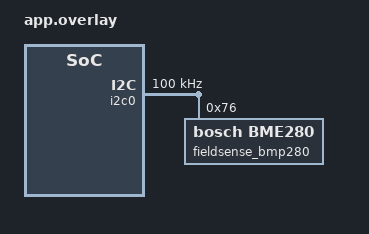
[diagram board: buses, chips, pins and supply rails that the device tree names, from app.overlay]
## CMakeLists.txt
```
cmake_minimum_required(VERSION 3.20.0)

find_package(Zephyr REQUIRED HINTS $ENV{ZEPHYR_BASE})

project(fieldsense_z)

target_include_directories(app PRIVATE include)

target_sources(app PRIVATE
    src/main.c
    src/sensor_service.c
    src/env_stats.c
    src/timing_metrics.c
    src/state_model.c
    src/diagnostics.c
    src/fault_injection.c
)
```

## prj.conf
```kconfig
CONFIG_SERIAL=y
CONFIG_CONSOLE=y
CONFIG_UART_CONSOLE=y

CONFIG_LOG=y
CONFIG_LOG_MODE_DEFERRED=y
CONFIG_LOG_DEFAULT_LEVEL=3

CONFIG_SHELL=y
CONFIG_SHELL_BACKEND_SERIAL=y
CONFIG_SHELL_LOG_BACKEND=y
CONFIG_SHELL_PROMPT_UART="fieldsense> "

CONFIG_I2C=y
CONFIG_I2C_ESP32=y

CONFIG_SENSOR=y
CONFIG_BME280=y
CONFIG_BME280_MODE_FORCED=y

# Resource and stack analysis
CONFIG_INIT_STACKS=y
CONFIG_THREAD_STACK_INFO=y
CONFIG_THREAD_NAME=y

CONFIG_THREAD_ANALYZER=y
CONFIG_THREAD_ANALYZER_USE_PRINTK=y
```

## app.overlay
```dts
#include <zephyr/dt-bindings/pinctrl/esp32-pinctrl.h>

/ {
aliases {
fieldsense-i2c = &i2c0;
fieldsense-env-sensor = &fieldsense_bmp280;
};
};

&pinctrl {
fieldsense_i2c0_default: fieldsense_i2c0_default {
group1 {
pinmux = <I2C0_SDA_GPIO21>,
 <I2C0_SCL_GPIO22>;
bias-pull-up;
drive-open-drain;
output-high;
};
};
};

&i2c0 {
status = "okay";
clock-frequency = <100000>;
pinctrl-0 = <&fieldsense_i2c0_default>;
pinctrl-names = "default";

#address-cells = <1>;
#size-cells = <0>;

fieldsense_bmp280: bmp280@76 {
compatible = "bosch,bme280";
reg = <0x76>;
status = "okay";
};
};
```

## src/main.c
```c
#include <errno.h>
#include <stdbool.h>
#include <stdint.h>

#include <zephyr/kernel.h>
#include <zephyr/logging/log.h>
#include <zephyr/sys/atomic.h>
#include <zephyr/sys/util.h>

#include "env_stats.h"
#include "sensor_service.h"
#include "timing_metrics.h"
#include "state_model.h"
#include "diagnostics.h"
#include "fault_injection.h"

LOG_MODULE_REGISTER(app, LOG_LEVEL_INF);

#define SENSOR_ACQ_THREAD_STACK_SIZE 2048
#define SENSOR_PROCESSING_THREAD_STACK_SIZE 2048

#define SENSOR_ACQ_THREAD_PRIORITY 5
#define SENSOR_PROCESSING_THREAD_PRIORITY 6

#define SENSOR_ACQ_PERIOD_MS 2000
#define SENSOR_SAMPLE_QUEUE_DEPTH 4

#define SENSOR_MISSED_PERIOD_TOLERANCE_MS 250
#define SENSOR_STALE_DATA_THRESHOLD_MS (SENSOR_ACQ_PERIOD_MS * 3U)

#define THREAD_START_DELAY_MS 1000

#define PERIODIC_SUMMARY_SAMPLE_COUNT 10U

#define TEMP_MIN_MILLI_C  (-40000)
#define TEMP_MAX_MILLI_C  85000
#define PRESS_MIN_PA      30000
#define PRESS_MAX_PA      110000
#define RH_MIN_MILLI_PCT  0
#define RH_MAX_MILLI_PCT  100000

K_MSGQ_DEFINE(sensor_sample_msgq,
	      sizeof(struct sensor_sample),
	      SENSOR_SAMPLE_QUEUE_DEPTH,
	      4);

static atomic_t queue_full_count;

static bool validate_sample_data(const struct sensor_sample *sample)
{
	if (!sample->valid) {
		return false;
	}

	if (sample->status != SENSOR_SAMPLE_STATUS_OK) {
		return false;
	}

	if (sample->driver_error != 0) {
		return false;
	}

	if (sample->temperature_milli_celsius < TEMP_MIN_MILLI_C ||
	    sample->temperature_milli_celsius > TEMP_MAX_MILLI_C) {
		return false;
	}

	if (sample->pressure_pa < PRESS_MIN_PA ||
	    sample->pressure_pa > PRESS_MAX_PA) {
		return false;
	}

	if (sample->humidity_supported) {
		if (sample->humidity_milli_percent_rh < RH_MIN_MILLI_PCT ||
		    sample->humidity_milli_percent_rh > RH_MAX_MILLI_PCT) {
			return false;
		}
	}

	return true;
}

static void publish_sample(const struct sensor_sample *sample)
{
	int ret;

	ret = k_msgq_put(&sensor_sample_msgq, sample, K_NO_WAIT);
	if (ret != 0) {
		atomic_inc(&queue_full_count);

		LOG_ERR("queue overflow: sample=%u ret=%d queue_full_count=%u policy=drop_newest_preserve_oldest",
			(unsigned int)sample->sequence,
			ret,
			(unsigned int)atomic_get(&queue_full_count));
		return;
	}

	LOG_DBG("published sample=%u valid=%d queue_used=%u queue_free=%u",
		(unsigned int)sample->sequence,
		sample->valid ? 1 : 0,
		(unsigned int)k_msgq_num_used_get(&sensor_sample_msgq),
		(unsigned int)k_msgq_num_free_get(&sensor_sample_msgq));
}

static void log_health_transition(enum node_health_state previous_health,
				  const struct state_model *system_state)
{
	if (system_state->node_health == NODE_HEALTH_FAULT) {
		LOG_ERR("health transition: %s -> %s reason=%s",
			node_health_state_to_string(previous_health),
			node_health_state_to_string(system_state->node_health),
			state_fault_reason_to_string(system_state->last_fault_reason));
	} else if (system_state->node_health == NODE_HEALTH_WARNING) {
		LOG_WRN("health transition: %s -> %s reason=%s",
			node_health_state_to_string(previous_health),
			node_health_state_to_string(system_state->node_health),
			state_fault_reason_to_string(system_state->last_fault_reason));
	} else {
		LOG_INF("health transition: %s -> %s",
			node_health_state_to_string(previous_health),
			node_health_state_to_string(system_state->node_health));
	}
}

static void log_environment_transition(
	enum environmental_status_state previous_environment,
	const struct state_model *system_state)
{
	if (system_state->environmental_status == ENV_STATUS_HIGH_TEMPERATURE ||
	    system_state->environmental_status == ENV_STATUS_PRESSURE_ALERT) {
		LOG_WRN("environment transition: %s -> %s",
			environmental_status_to_string(previous_environment),
			environmental_status_to_string(
				system_state->environmental_status));
	} else {
		LOG_INF("environment transition: %s -> %s",
			environmental_status_to_string(previous_environment),
			environmental_status_to_string(
				system_state->environmental_status));
	}
}

static void log_periodic_summary(
	uint32_t processed_count,
	uint32_t valid_sample_count,
	uint32_t invalid_sample_count,
	uint32_t sequence_gap_count,
	const struct sensor_sample *latest_valid_sample,
	bool latest_valid_available,
	const struct environmental_stats *stats,
	const struct timing_metrics *timing,
	const struct state_model *system_state)
{
	if (!latest_valid_available) {
		LOG_INF("summary: processed=%u valid=%u invalid=%u sequence_gaps=%u queue_full=%u health=%s environment=%s latest_valid=no missed_deadlines=%u stale=%d",
			(unsigned int)processed_count,
			(unsigned int)valid_sample_count,
			(unsigned int)invalid_sample_count,
			(unsigned int)sequence_gap_count,
			(unsigned int)atomic_get(&queue_full_count),
			node_health_state_to_string(system_state->node_health),
			environmental_status_to_string(
				system_state->environmental_status),
			(unsigned int)timing->missed_deadline_count,
			timing->stale_data ? 1 : 0);
		return;
	}

	LOG_INF("summary: processed=%u valid=%u invalid=%u sequence_gaps=%u queue_full=%u health=%s environment=%s latest_seq=%u temp_mC=%d pressure_pa=%d interval_mean_ms=%u missed_deadlines=%u stale=%d",
		(unsigned int)processed_count,
		(unsigned int)valid_sample_count,
		(unsigned int)invalid_sample_count,
		(unsigned int)sequence_gap_count,
		(unsigned int)atomic_get(&queue_full_count),
		node_health_state_to_string(system_state->node_health),
		environmental_status_to_string(system_state->environmental_status),
		(unsigned int)latest_valid_sample->sequence,
		(int)latest_valid_sample->temperature_milli_celsius,
		(int)latest_valid_sample->pressure_pa,
		(unsigned int)timing->mean_interval_ms,
		(unsigned int)timing->missed_deadline_count,
		timing->stale_data ? 1 : 0);

	LOG_INF("stats: temp_latest_mC=%d temp_min_mC=%d temp_max_mC=%d temp_avg_mC=%d pressure_latest_pa=%d pressure_min_pa=%d pressure_max_pa=%d pressure_avg_pa=%d",
		(int)stats->temperature_milli_celsius.latest,
		(int)stats->temperature_milli_celsius.minimum,
		(int)stats->temperature_milli_celsius.maximum,
		(int)stats->temperature_milli_celsius.moving_average,
		(int)stats->pressure_pa.latest,
		(int)stats->pressure_pa.minimum,
		(int)stats->pressure_pa.maximum,
		(int)stats->pressure_pa.moving_average);
}

static void apply_fault_injection_to_sample(struct sensor_sample *sample,
					    int *ret)
{
	uint32_t mask;
	uint32_t now_ms;

	mask = fault_injection_get_mask();
	now_ms = k_uptime_get_32();

	if ((mask & FAULT_INJECTION_SENSOR_READ_FAILURE) != 0U) {
		sample->timestamp_ms = now_ms;
		sample->valid = false;
		sample->status = SENSOR_SAMPLE_STATUS_FETCH_FAILED;
		sample->driver_error = -EIO;
		*ret = -EIO;

		LOG_WRN("injection active: sensor-read-failure sample=%u",
			(unsigned int)sample->sequence);
		return;
	}

	if ((mask & FAULT_INJECTION_INVALID_MEASUREMENT) != 0U) {
		sample->timestamp_ms = now_ms;
		sample->valid = true;
		sample->status = SENSOR_SAMPLE_STATUS_OK;
		sample->driver_error = 0;
		sample->temperature_milli_celsius =
			FAULT_INJECTION_INVALID_TEMP_MILLI_C;
		sample->pressure_pa =
			FAULT_INJECTION_INVALID_PRESSURE_PA;
		*ret = 0;

		LOG_WRN("injection active: invalid-measurement sample=%u temp_mC=%d pressure_pa=%d",
			(unsigned int)sample->sequence,
			(int)sample->temperature_milli_celsius,
			(int)sample->pressure_pa);
	}

	if ((mask & FAULT_INJECTION_NORMAL_ENVIRONMENT) != 0U) {
		sample->timestamp_ms = now_ms;
		sample->valid = true;
		sample->status = SENSOR_SAMPLE_STATUS_OK;
		sample->driver_error = 0;
		sample->temperature_milli_celsius =
			FAULT_INJECTION_NORMAL_TEMP_MILLI_C;
		sample->pressure_pa =
			FAULT_INJECTION_NORMAL_PRESSURE_PA;
		sample->humidity_supported = false;
		sample->humidity_milli_percent_rh = 0;
		*ret = 0;

		LOG_WRN("injection active: normal-environment sample=%u temp_mC=%d pressure_pa=%d",
			(unsigned int)sample->sequence,
			(int)sample->temperature_milli_celsius,
			(int)sample->pressure_pa);
	}

	if ((mask & FAULT_INJECTION_STALE_PUBLICATION) != 0U) {
		sample->timestamp_ms = now_ms - FAULT_INJECTION_STALE_AGE_MS;

		LOG_WRN("injection active: stale-publication sample=%u age_ms=%u",
			(unsigned int)sample->sequence,
			(unsigned int)FAULT_INJECTION_STALE_AGE_MS);
	}
}

static void sensor_acquisition_thread(void *p1, void *p2, void *p3)
{
	struct sensor_sample sample;
	int ret;

	k_thread_name_set(k_current_get(), "fieldsense_acq");

	ARG_UNUSED(p1);
	ARG_UNUSED(p2);
	ARG_UNUSED(p3);

	LOG_INF("acquisition thread started: priority=%d stack=%d period_ms=%d",
		SENSOR_ACQ_THREAD_PRIORITY,
		SENSOR_ACQ_THREAD_STACK_SIZE,
		SENSOR_ACQ_PERIOD_MS);

	ret = sensor_service_init();
	if (ret != 0) {
		LOG_WRN("sensor service init failed ret=%d; acquisition will continue and publish failure samples",
			ret);
	} else {
		LOG_INF("sensor service ready: device=%s",
			sensor_service_device_name());
	}

	while (1) {
		uint32_t acq_start_ms;
		uint32_t acq_end_ms;
		uint32_t acq_execution_time_ms;

		acq_start_ms = k_uptime_get_32();

		ret = sensor_service_read(&sample);

		apply_fault_injection_to_sample(&sample, &ret);

		acq_end_ms = k_uptime_get_32();
		acq_execution_time_ms = acq_end_ms - acq_start_ms;

		LOG_DBG("acquisition timing: sample=%u execution_time_ms=%u",
			(unsigned int)sample.sequence,
			(unsigned int)acq_execution_time_ms);

		if (ret != 0 || !sample.valid) {
			LOG_WRN("sensor read failure captured: sample=%u status=%s driver_error=%d ret=%d",
				(unsigned int)sample.sequence,
				sensor_sample_status_to_string(sample.status),
				sample.driver_error,
				ret);
		}

		publish_sample(&sample);

		if (fault_injection_is_active(FAULT_INJECTION_QUEUE_PRESSURE)) {
			for (uint32_t i = 0U;
			     i < FAULT_INJECTION_QUEUE_PRESSURE_BURST_COUNT;
			     i++) {
				LOG_WRN("injection active: queue-pressure burst=%u sample=%u",
					(unsigned int)(i + 1U),
					(unsigned int)sample.sequence);

				publish_sample(&sample);
			}
		}

		k_sleep(K_MSEC(SENSOR_ACQ_PERIOD_MS));
	}
}

static void sensor_processing_thread(void *p1, void *p2, void *p3)
{
	struct sensor_sample sample;
	struct sensor_sample latest_valid_sample = {0};
	struct environmental_stats stats;
	struct timing_metrics timing;
	struct state_model system_state;

	bool latest_valid_available = false;
	bool previous_stale_data = false;

	uint32_t previous_missed_deadline_count = 0U;
	uint32_t previous_queue_full_count = 0U;

	uint32_t valid_sample_count = 0U;
	uint32_t invalid_sample_count = 0U;
	uint32_t sequence_gap_count = 0U;
	uint32_t expected_sequence = 1U;
	uint32_t processed_count = 0U;

	int ret;

	k_thread_name_set(k_current_get(), "fieldsense_proc");

	ARG_UNUSED(p1);
	ARG_UNUSED(p2);
	ARG_UNUSED(p3);

	env_stats_init(&stats);

	timing_metrics_init(&timing,
			    SENSOR_ACQ_PERIOD_MS,
			    SENSOR_MISSED_PERIOD_TOLERANCE_MS,
			    SENSOR_STALE_DATA_THRESHOLD_MS);

	state_model_init(&system_state);

	LOG_INF("processing thread started: priority=%d stack=%d",
		SENSOR_PROCESSING_THREAD_PRIORITY,
		SENSOR_PROCESSING_THREAD_STACK_SIZE);
	LOG_INF("processing thread blocking on k_msgq_get(K_FOREVER)");

	while (1) {
		bool sample_is_valid;
		uint32_t current_missed_deadline_count;
		uint32_t current_queue_full_count;
		bool missed_deadline_event;
		bool queue_overflow_event;
		enum node_health_state previous_health;
		enum environmental_status_state previous_environment;
		struct state_model_input state_input;

		ret = k_msgq_get(&sensor_sample_msgq, &sample, K_FOREVER);
		if (ret != 0) {
			LOG_ERR("k_msgq_get failed ret=%d", ret);
			continue;
		}

		if (diagnostics_reset_stats_requested_take()) {
			env_stats_init(&stats);

			timing_metrics_init(&timing,
					    SENSOR_ACQ_PERIOD_MS,
					    SENSOR_MISSED_PERIOD_TOLERANCE_MS,
					    SENSOR_STALE_DATA_THRESHOLD_MS);

			latest_valid_sample = (struct sensor_sample){0};
			latest_valid_available = false;

			valid_sample_count = 0U;
			invalid_sample_count = 0U;
			sequence_gap_count = 0U;
			processed_count = 0U;
			expected_sequence = sample.sequence;

			atomic_set(&queue_full_count, 0);

			previous_missed_deadline_count =
				timing.missed_deadline_count;
			previous_queue_full_count = 0U;
			previous_stale_data = false;

			LOG_INF("diagnostic statistics reset applied");
		}

		if (fault_injection_is_active(FAULT_INJECTION_PROCESSING_DELAY)) {
			LOG_WRN("injection active: processing-delay delay_ms=%u",
				(unsigned int)FAULT_INJECTION_PROCESSING_DELAY_MS);

			k_sleep(K_MSEC(FAULT_INJECTION_PROCESSING_DELAY_MS));
		}

		processed_count++;

		timing_metrics_update(&timing, &sample, k_uptime_get_32());

		sample_is_valid = validate_sample_data(&sample);

		current_missed_deadline_count = timing.missed_deadline_count;
		current_queue_full_count =
			(uint32_t)atomic_get(&queue_full_count);

		missed_deadline_event =
			current_missed_deadline_count >
			previous_missed_deadline_count;

		queue_overflow_event =
			current_queue_full_count > previous_queue_full_count;

		previous_missed_deadline_count = current_missed_deadline_count;
		previous_queue_full_count = current_queue_full_count;

		state_input.sample_received = true;
		state_input.sample_valid = sample_is_valid;
		state_input.temperature_milli_celsius =
			sample.temperature_milli_celsius;
		state_input.pressure_pa = sample.pressure_pa;
		state_input.stale_data = timing.stale_data;
		state_input.missed_deadline_event = missed_deadline_event;
		state_input.queue_overflow_event = queue_overflow_event;

		previous_health = system_state.node_health;
		previous_environment = system_state.environmental_status;

		state_model_update(&system_state, &state_input);

		if (system_state.node_health != previous_health) {
			log_health_transition(previous_health, &system_state);
		}

		if (system_state.environmental_status != previous_environment) {
			log_environment_transition(previous_environment,
						   &system_state);
		}

		if (missed_deadline_event) {
			LOG_WRN("missed deadline detected: interval_ms=%u threshold_ms=%u missed_count=%u",
				(unsigned int)timing.latest_interval_ms,
				(unsigned int)(SENSOR_ACQ_PERIOD_MS +
					       SENSOR_MISSED_PERIOD_TOLERANCE_MS),
				(unsigned int)timing.missed_deadline_count);
		}

		if (timing.stale_data && !previous_stale_data) {
			LOG_WRN("stale data detected: last_valid_age_ms=%u threshold_ms=%u",
				(unsigned int)timing.last_valid_sample_age_ms,
				(unsigned int)timing.stale_threshold_ms);
		}

		if (previous_health == NODE_HEALTH_FAULT &&
		    system_state.node_health == NODE_HEALTH_HEALTHY) {
			LOG_INF("qualified recovery complete: required_valid_samples=%u",
				(unsigned int)STATE_RECOVERY_VALID_SAMPLE_COUNT);
		}

		previous_stale_data = timing.stale_data;

		if (sample.sequence > expected_sequence) {
			uint32_t missed;

			missed = sample.sequence - expected_sequence;
			sequence_gap_count++;

			LOG_WRN("sequence gap detected: expected=%u received=%u missed=%u gap_count=%u",
				(unsigned int)expected_sequence,
				(unsigned int)sample.sequence,
				(unsigned int)missed,
				(unsigned int)sequence_gap_count);

			expected_sequence = sample.sequence + 1U;
		} else if (sample.sequence < expected_sequence) {
			LOG_WRN("duplicate or out-of-order sample observed: expected=%u received=%u",
				(unsigned int)expected_sequence,
				(unsigned int)sample.sequence);
		} else {
			expected_sequence = sample.sequence + 1U;
		}

		if (sample_is_valid) {
			latest_valid_sample = sample;
			latest_valid_available = true;
			valid_sample_count++;

			env_stats_update_from_sample(&stats, &sample);
		} else {
			invalid_sample_count++;

			LOG_WRN("invalid sample processed: sample=%u timestamp_ms=%u status=%s driver_error=%d",
				(unsigned int)sample.sequence,
				(unsigned int)sample.timestamp_ms,
				sensor_sample_status_to_string(sample.status),
				sample.driver_error);
		}

		{
			struct diagnostics_snapshot_update diagnostic_update = {
				.processed_count = processed_count,
				.valid_sample_count = valid_sample_count,
				.invalid_sample_count = invalid_sample_count,
				.sequence_gap_count = sequence_gap_count,
				.queue_full_count =
					(uint32_t)atomic_get(&queue_full_count),
				.queue_used_count =
					(uint32_t)k_msgq_num_used_get(
						&sensor_sample_msgq),
				.queue_free_count =
					(uint32_t)k_msgq_num_free_get(
						&sensor_sample_msgq),
				.queue_depth = SENSOR_SAMPLE_QUEUE_DEPTH,
				.fault_injection_mask = fault_injection_get_mask(),
				.latest_valid_available = latest_valid_available,
				.latest_valid_sample = latest_valid_sample,
				.stats = stats,
				.timing = timing,
				.system_state = system_state,
				.update_time_ms = k_uptime_get_32(),
			};

			diagnostics_publish_snapshot(&diagnostic_update);
		}

		if ((processed_count % PERIODIC_SUMMARY_SAMPLE_COUNT) == 0U) {
			log_periodic_summary(processed_count,
					     valid_sample_count,
					     invalid_sample_count,
					     sequence_gap_count,
					     &latest_valid_sample,
					     latest_valid_available,
					     &stats,
					     &timing,
					     &system_state);
		}
	}
}

K_THREAD_DEFINE(sensor_acq_thread_id,
		SENSOR_ACQ_THREAD_STACK_SIZE,
		sensor_acquisition_thread,
		NULL, NULL, NULL,
		SENSOR_ACQ_THREAD_PRIORITY,
		0,
		THREAD_START_DELAY_MS);

K_THREAD_DEFINE(sensor_processing_thread_id,
		SENSOR_PROCESSING_THREAD_STACK_SIZE,
		sensor_processing_thread,
		NULL, NULL, NULL,
		SENSOR_PROCESSING_THREAD_PRIORITY,
		0,
		THREAD_START_DELAY_MS);

int main(void)
{
	bool env_stats_test_passed;
	bool state_model_test_passed;

	fault_injection_init();
	diagnostics_init();

	LOG_INF("boot: FieldSense-Z queue backpressure checkpoint");
	LOG_INF("logging mode: deferred");
	LOG_INF("pipeline: acquisition -> k_msgq -> processing -> diagnostics shell -> fault injection");
	LOG_INF("supported sensor channels: temperature pressure; humidity unsupported on verified BMP280 hardware");
	LOG_INF("fault injection: software-only, reversible, diagnostic-shell controlled");
	LOG_INF("queue backpressure: finite queue, nonblocking publish, drop newest on full queue");

	env_stats_test_passed = env_stats_controlled_self_test();
	if (env_stats_test_passed) {
		LOG_INF("selftest env_stats=PASS");
	} else {
		LOG_ERR("selftest env_stats=FAIL");
	}

	state_model_test_passed = state_model_controlled_self_test();
	if (state_model_test_passed) {
		LOG_INF("selftest state_model=PASS");
	} else {
		LOG_ERR("selftest state_model=FAIL");
	}

	LOG_INF("queue item size=%u bytes depth=%u storage_estimate=%u bytes",
		(unsigned int)sizeof(struct sensor_sample),
		(unsigned int)SENSOR_SAMPLE_QUEUE_DEPTH,
		(unsigned int)(sizeof(struct sensor_sample) *
			       SENSOR_SAMPLE_QUEUE_DEPTH));

	LOG_INF("queue policy: non-blocking publish, count overflow, preserve oldest queued samples, drop newest failed publish");

	return 0;
}
```

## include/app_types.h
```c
#ifndef APP_TYPES_H_
#define APP_TYPES_H_

#include <stdbool.h>
#include <stdint.h>

enum sensor_sample_status {
SENSOR_SAMPLE_STATUS_OK = 0,
SENSOR_SAMPLE_STATUS_DEVICE_NOT_READY,
SENSOR_SAMPLE_STATUS_FETCH_FAILED,
SENSOR_SAMPLE_STATUS_TEMPERATURE_FAILED,
SENSOR_SAMPLE_STATUS_PRESSURE_FAILED,
SENSOR_SAMPLE_STATUS_HUMIDITY_FAILED,
};

struct sensor_sample {
uint32_t timestamp_ms;
uint32_t sequence;

int32_t temperature_milli_celsius;
int32_t pressure_pa;

bool humidity_supported;
int32_t humidity_milli_percent_rh;

bool valid;
enum sensor_sample_status status;
int driver_error;
};

#endif /* APP_TYPES_H_ */
```

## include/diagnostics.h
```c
#ifndef DIAGNOSTICS_H_
#define DIAGNOSTICS_H_

#include <stdbool.h>
#include <stdint.h>

#include "app_types.h"
#include "env_stats.h"
#include "state_model.h"
#include "timing_metrics.h"

struct diagnostics_snapshot_update {
	uint32_t processed_count;
	uint32_t valid_sample_count;
	uint32_t invalid_sample_count;
	uint32_t sequence_gap_count;
	uint32_t queue_full_count;
   
        uint32_t queue_used_count;
        uint32_t queue_free_count;
        uint32_t queue_depth;

        uint32_t fault_injection_mask;

	bool latest_valid_available;
	struct sensor_sample latest_valid_sample;

	struct environmental_stats stats;
	struct timing_metrics timing;
	struct state_model system_state;

	uint32_t update_time_ms;
};

void diagnostics_init(void);

void diagnostics_publish_snapshot(
	const struct diagnostics_snapshot_update *update);

bool diagnostics_reset_stats_requested_take(void);

#endif /* DIAGNOSTICS_H_ */
```

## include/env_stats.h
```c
#ifndef ENV_STATS_H_
#define ENV_STATS_H_

#include <stdbool.h>
#include <stdint.h>

#include "app_types.h"

#define ENV_STATS_WINDOW_SIZE 5U

struct measurement_stats {
	bool has_value;
	uint32_t valid_count;

	int32_t latest;
	int32_t minimum;
	int32_t maximum;

	int32_t moving_average;
	int32_t window[ENV_STATS_WINDOW_SIZE];
	uint8_t window_count;
	uint8_t window_index;
	int64_t window_sum;
};

struct environmental_stats {
	struct measurement_stats temperature_milli_celsius;
	struct measurement_stats pressure_pa;
};

void env_stats_init(struct environmental_stats *stats);

void env_stats_measurement_reset(struct measurement_stats *stats);

void env_stats_measurement_update(struct measurement_stats *stats,
				  int32_t value);

void env_stats_update_from_sample(struct environmental_stats *stats,
				  const struct sensor_sample *sample);

bool env_stats_controlled_self_test(void);

#endif /* ENV_STATS_H_ */
```

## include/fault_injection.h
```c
#ifndef FAULT_INJECTION_H_
#define FAULT_INJECTION_H_

#include <stdbool.h>
#include <stdint.h>

#include <zephyr/sys/util.h>

#define FAULT_INJECTION_SENSOR_READ_FAILURE BIT(0)
#define FAULT_INJECTION_STALE_PUBLICATION  BIT(1)
#define FAULT_INJECTION_PROCESSING_DELAY   BIT(2)
#define FAULT_INJECTION_QUEUE_PRESSURE     BIT(3)
#define FAULT_INJECTION_INVALID_MEASUREMENT BIT(4)
#define FAULT_INJECTION_NORMAL_ENVIRONMENT BIT(5)

#define FAULT_INJECTION_ALL_MASK \
	(FAULT_INJECTION_SENSOR_READ_FAILURE | \
	 FAULT_INJECTION_STALE_PUBLICATION | \
	 FAULT_INJECTION_PROCESSING_DELAY | \
	 FAULT_INJECTION_QUEUE_PRESSURE | \
	 FAULT_INJECTION_INVALID_MEASUREMENT | \
	 FAULT_INJECTION_NORMAL_ENVIRONMENT)

#define FAULT_INJECTION_STALE_AGE_MS 7000U
#define FAULT_INJECTION_PROCESSING_DELAY_MS 3500U
#define FAULT_INJECTION_QUEUE_PRESSURE_BURST_COUNT 6U

#define FAULT_INJECTION_NORMAL_TEMP_MILLI_C 26000
#define FAULT_INJECTION_NORMAL_PRESSURE_PA 100000

#define FAULT_INJECTION_INVALID_TEMP_MILLI_C 200000
#define FAULT_INJECTION_INVALID_PRESSURE_PA 100000

void fault_injection_init(void);

void fault_injection_enable(uint32_t mask);

void fault_injection_clear(uint32_t mask);

void fault_injection_clear_all(void);

uint32_t fault_injection_get_mask(void);

bool fault_injection_is_active(uint32_t mask);

#endif /* FAULT_INJECTION_H_ */
```

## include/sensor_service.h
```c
#ifndef SENSOR_SERVICE_H_
#define SENSOR_SERVICE_H_

#include "app_types.h"

int sensor_service_init(void);

int sensor_service_read(struct sensor_sample *sample);

const char *sensor_service_device_name(void);

const char *sensor_sample_status_to_string(enum sensor_sample_status status);

#endif /* SENSOR_SERVICE_H_ */
```

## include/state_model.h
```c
#ifndef STATE_MODEL_H_
#define STATE_MODEL_H_

#include <stdbool.h>
#include <stdint.h>

#define STATE_SENSOR_FAILURES_BEFORE_FAULT 3U
#define STATE_RECOVERY_VALID_SAMPLE_COUNT 5U

#define STATE_STALE_EVENTS_BEFORE_FAULT 2U
#define STATE_MISSED_DEADLINES_BEFORE_FAULT 3U
#define STATE_QUEUE_OVERFLOWS_BEFORE_FAULT 3U

#define STATE_HIGH_TEMP_ENTER_MILLI_C 30000
#define STATE_HIGH_TEMP_CLEAR_MILLI_C 28000

#define STATE_PRESSURE_LOW_ENTER_PA 95000
#define STATE_PRESSURE_HIGH_ENTER_PA 105000
#define STATE_PRESSURE_LOW_CLEAR_PA 97000
#define STATE_PRESSURE_HIGH_CLEAR_PA 103000

enum node_health_state {
	NODE_HEALTH_INITIALIZING = 0,
	NODE_HEALTH_HEALTHY,
	NODE_HEALTH_WARNING,
	NODE_HEALTH_FAULT,
};

enum environmental_status_state {
	ENV_STATUS_UNKNOWN = 0,
	ENV_STATUS_NORMAL,
	ENV_STATUS_HIGH_TEMPERATURE,
	ENV_STATUS_PRESSURE_ALERT,
};

enum state_fault_reason {
	STATE_FAULT_NONE = 0,
	STATE_FAULT_SENSOR_FAILURES,
	STATE_FAULT_STALE_DATA,
	STATE_FAULT_MISSED_DEADLINES,
	STATE_FAULT_QUEUE_OVERFLOWS,
};

struct state_model_input {
	bool sample_received;
	bool sample_valid;

	int32_t temperature_milli_celsius;
	int32_t pressure_pa;

	bool stale_data;
	bool missed_deadline_event;
	bool queue_overflow_event;
};

struct state_model {
	enum node_health_state node_health;
	enum environmental_status_state environmental_status;
	enum state_fault_reason last_fault_reason;

	uint32_t node_health_transition_count;
	uint32_t environmental_transition_count;

	uint32_t consecutive_sensor_failures;
	uint32_t consecutive_recovery_valid_samples;

	uint32_t stale_data_event_count;
	uint32_t missed_deadline_event_count;
	uint32_t queue_overflow_event_count;
};

void state_model_init(struct state_model *model);

void state_model_update(struct state_model *model,
			const struct state_model_input *input);

const char *node_health_state_to_string(enum node_health_state state);

const char *environmental_status_to_string(enum environmental_status_state state);

const char *state_fault_reason_to_string(enum state_fault_reason reason);

bool state_model_controlled_self_test(void);

#endif /* STATE_MODEL_H_ */
```

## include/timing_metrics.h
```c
#ifndef TIMING_METRICS_H_
#define TIMING_METRICS_H_

#include <stdbool.h>
#include <stdint.h>

#include "app_types.h"

struct timing_metrics {
	uint32_t requested_period_ms;
	uint32_t missed_tolerance_ms;
	uint32_t stale_threshold_ms;

	bool have_previous_sample;
	uint32_t previous_sample_timestamp_ms;

	bool have_last_valid_sample;
	uint32_t last_valid_sample_timestamp_ms;

	uint32_t interval_count;
	uint32_t latest_interval_ms;
	uint32_t minimum_interval_ms;
	uint32_t maximum_interval_ms;
	uint64_t interval_sum_ms;
	uint32_t mean_interval_ms;

	int32_t latest_scheduler_delay_ms;
	uint32_t missed_deadline_count;

	uint32_t last_valid_sample_age_ms;
	bool stale_data;
};

void timing_metrics_init(struct timing_metrics *metrics,
			 uint32_t requested_period_ms,
			 uint32_t missed_tolerance_ms,
			 uint32_t stale_threshold_ms);

void timing_metrics_update(struct timing_metrics *metrics,
			   const struct sensor_sample *sample,
			   uint32_t now_ms);

#endif /* TIMING_METRICS_H_ */
```

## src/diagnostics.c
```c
#include <errno.h>
#include <stdbool.h>
#include <stdint.h>
#include <string.h>

#include <zephyr/kernel.h>
#include <zephyr/logging/log.h>
#include <zephyr/shell/shell.h>
#include <zephyr/sys/atomic.h>
#include <zephyr/sys/util.h>
#include <zephyr/debug/thread_analyzer.h>

#include "diagnostics.h"
#include "fault_injection.h"
#include "sensor_service.h"
#include "state_model.h"

LOG_MODULE_REGISTER(health, LOG_LEVEL_INF);

K_MUTEX_DEFINE(diagnostics_mutex);

static struct diagnostics_snapshot_update diagnostics_snapshot;
static bool diagnostics_snapshot_valid;
static atomic_t reset_stats_requested;

void diagnostics_init(void)
{
	(void)k_mutex_lock(&diagnostics_mutex, K_FOREVER);

	memset(&diagnostics_snapshot, 0, sizeof(diagnostics_snapshot));
	diagnostics_snapshot_valid = false;
	atomic_set(&reset_stats_requested, 0);

	(void)k_mutex_unlock(&diagnostics_mutex);
}

void diagnostics_publish_snapshot(
	const struct diagnostics_snapshot_update *update)
{
	if (update == NULL) {
		return;
	}

	if (k_mutex_lock(&diagnostics_mutex, K_MSEC(20)) != 0) {
		LOG_WRN("diagnostic snapshot update skipped: mutex busy");
		return;
	}

	diagnostics_snapshot = *update;
	diagnostics_snapshot_valid = true;

	(void)k_mutex_unlock(&diagnostics_mutex);
}

bool diagnostics_reset_stats_requested_take(void)
{
	return atomic_cas(&reset_stats_requested, 1, 0);
}

static int copy_snapshot(struct diagnostics_snapshot_update *copy)
{
	if (copy == NULL) {
		return -EINVAL;
	}

	if (k_mutex_lock(&diagnostics_mutex, K_MSEC(100)) != 0) {
		return -EBUSY;
	}

	if (!diagnostics_snapshot_valid) {
		(void)k_mutex_unlock(&diagnostics_mutex);
		return -ENODATA;
	}

	*copy = diagnostics_snapshot;

	(void)k_mutex_unlock(&diagnostics_mutex);

	return 0;
}

static void shell_print_milli_c(const struct shell *sh, const char *label,
				int32_t milli_c)
{
	int32_t abs_value;
	int32_t whole;
	int32_t frac;

	abs_value = milli_c < 0 ? -milli_c : milli_c;
	whole = abs_value / 1000;
	frac = abs_value % 1000;

	if (milli_c < 0) {
		shell_print(sh, "%s: -%d.%03d C (%d mC)",
			    label, whole, frac, milli_c);
	} else {
		shell_print(sh, "%s: %d.%03d C (%d mC)",
			    label, whole, frac, milli_c);
	}
}

static void shell_print_pressure(const struct shell *sh, const char *label,
				 int32_t pressure_pa)
{
	int32_t kpa_whole = pressure_pa / 1000;
	int32_t kpa_frac = pressure_pa % 1000;

	shell_print(sh, "%s: %d.%03d kPa (%d Pa)",
		    label, kpa_whole, kpa_frac, pressure_pa);
}

static int require_snapshot(const struct shell *sh,
			    struct diagnostics_snapshot_update *snapshot)
{
	int ret;

	ret = copy_snapshot(snapshot);
	if (ret == -ENODATA) {
		shell_error(sh, "no diagnostic snapshot available yet");
		return ret;
	}

	if (ret == -EBUSY) {
		shell_error(sh, "diagnostic snapshot busy, try again");
		return ret;
	}

	if (ret != 0) {
		shell_error(sh, "failed to read diagnostic snapshot, ret=%d", ret);
		return ret;
	}

	return 0;
}

static void shell_print_fault_injections(const struct shell *sh,
					 uint32_t mask)
{
	shell_print(sh, "fault_injection_mask: 0x%08x",
		    (unsigned int)mask);

	if (mask == 0U) {
		shell_print(sh, "active_injections: none");
		return;
	}

	shell_print(sh, "active_injections:");

	if ((mask & FAULT_INJECTION_SENSOR_READ_FAILURE) != 0U) {
		shell_print(sh, "- sensor-read-failure");
	}

	if ((mask & FAULT_INJECTION_STALE_PUBLICATION) != 0U) {
		shell_print(sh, "- stale-publication");
	}

	if ((mask & FAULT_INJECTION_PROCESSING_DELAY) != 0U) {
		shell_print(sh, "- processing-delay");
	}

	if ((mask & FAULT_INJECTION_QUEUE_PRESSURE) != 0U) {
		shell_print(sh, "- queue-pressure");
	}

	if ((mask & FAULT_INJECTION_INVALID_MEASUREMENT) != 0U) {
		shell_print(sh, "- invalid-measurement");
	}

	if ((mask & FAULT_INJECTION_NORMAL_ENVIRONMENT) != 0U) {
		shell_print(sh, "- normal-environment");
	}
}

static int cmd_node_status(const struct shell *sh)
{
	struct diagnostics_snapshot_update snapshot;
	uint32_t current_injection_mask;
	int ret;

	ret = require_snapshot(sh, &snapshot);
	if (ret != 0) {
		return ret;
	}

	current_injection_mask = fault_injection_get_mask();

	shell_print(sh, "Node status");
	shell_print(sh, "health: %s",
		    node_health_state_to_string(
			    snapshot.system_state.node_health));
	shell_print(sh, "environment: %s",
		    environmental_status_to_string(
			    snapshot.system_state.environmental_status));
	shell_print(sh, "last_fault_reason: %s",
		    state_fault_reason_to_string(
			    snapshot.system_state.last_fault_reason));
	shell_print(sh, "processed_count: %u samples",
		    (unsigned int)snapshot.processed_count);
	shell_print(sh, "valid_count: %u samples",
		    (unsigned int)snapshot.valid_sample_count);
	shell_print(sh, "invalid_count: %u samples",
		    (unsigned int)snapshot.invalid_sample_count);
	shell_print(sh, "queue_full_count: %u events",
		    (unsigned int)snapshot.queue_full_count);
	shell_print(sh, "queue_used_count: %u samples",
		    (unsigned int)snapshot.queue_used_count);
	shell_print(sh, "queue_free_count: %u slots",
		    (unsigned int)snapshot.queue_free_count);
	shell_print(sh, "queue_depth: %u slots",
		    (unsigned int)snapshot.queue_depth);

	shell_print_fault_injections(sh, current_injection_mask);

	shell_print(sh, "snapshot_fault_injection_mask: 0x%08x",
		    (unsigned int)snapshot.fault_injection_mask);
	shell_print(sh, "snapshot_age_reference_ms: %u ms uptime",
		    (unsigned int)snapshot.update_time_ms);

	return 0;
}

static int cmd_node_latest(const struct shell *sh)
{
	struct diagnostics_snapshot_update snapshot;
	const struct sensor_sample *sample;
	int ret;

	ret = require_snapshot(sh, &snapshot);
	if (ret != 0) {
		return ret;
	}

	if (!snapshot.latest_valid_available) {
		shell_error(sh, "no latest valid sample available");
		return -ENODATA;
	}

	sample = &snapshot.latest_valid_sample;

	shell_print(sh, "Latest valid sample");
	shell_print(sh, "sequence: %u", (unsigned int)sample->sequence);
	shell_print(sh, "timestamp: %u ms", (unsigned int)sample->timestamp_ms);
	shell_print(sh, "status: %s",
		    sensor_sample_status_to_string(sample->status));

	shell_print_milli_c(sh, "temperature",
			    sample->temperature_milli_celsius);
	shell_print_pressure(sh, "pressure", sample->pressure_pa);

	if (sample->humidity_supported) {
		shell_print(sh, "humidity: %d m%%RH",
			    sample->humidity_milli_percent_rh);
	} else {
		shell_print(sh, "humidity: unsupported by verified BMP280 hardware");
	}

	return 0;
}

static int cmd_node_stats(const struct shell *sh)
{
	struct diagnostics_snapshot_update snapshot;
	const struct environmental_stats *stats;
	int ret;

	ret = require_snapshot(sh, &snapshot);
	if (ret != 0) {
		return ret;
	}

	stats = &snapshot.stats;

	shell_print(sh, "Environmental statistics");
	shell_print(sh, "valid samples: %u",
		    (unsigned int)snapshot.valid_sample_count);
	shell_print(sh, "invalid samples: %u",
		    (unsigned int)snapshot.invalid_sample_count);

	if (!stats->temperature_milli_celsius.has_value) {
		shell_print(sh, "temperature: no valid samples yet");
	} else {
		shell_print(sh, "temperature count: %u samples",
			    (unsigned int)
			    stats->temperature_milli_celsius.valid_count);
		shell_print_milli_c(sh, "temperature latest",
				    stats->temperature_milli_celsius.latest);
		shell_print_milli_c(sh, "temperature minimum",
				    stats->temperature_milli_celsius.minimum);
		shell_print_milli_c(sh, "temperature maximum",
				    stats->temperature_milli_celsius.maximum);
		shell_print_milli_c(sh, "temperature moving_average",
				    stats->temperature_milli_celsius.moving_average);
	}

	if (!stats->pressure_pa.has_value) {
		shell_print(sh, "pressure: no valid samples yet");
	} else {
		shell_print(sh, "pressure count: %u samples",
			    (unsigned int)stats->pressure_pa.valid_count);
		shell_print_pressure(sh, "pressure latest",
				     stats->pressure_pa.latest);
		shell_print_pressure(sh, "pressure minimum",
				     stats->pressure_pa.minimum);
		shell_print_pressure(sh, "pressure maximum",
				     stats->pressure_pa.maximum);
		shell_print_pressure(sh, "pressure moving_average",
				     stats->pressure_pa.moving_average);
	}

	shell_print(sh, "humidity statistics: unsupported by verified BMP280 hardware");

	return 0;
}

static int cmd_node_timing(const struct shell *sh)
{
	struct diagnostics_snapshot_update snapshot;
	const struct timing_metrics *timing;
	int ret;

	ret = require_snapshot(sh, &snapshot);
	if (ret != 0) {
		return ret;
	}

	timing = &snapshot.timing;

	shell_print(sh, "Timing metrics");
	shell_print(sh, "requested_period: %u ms",
		    (unsigned int)timing->requested_period_ms);
	shell_print(sh, "missed_deadline_threshold: %u ms",
		    (unsigned int)(timing->requested_period_ms +
				   timing->missed_tolerance_ms));
	shell_print(sh, "stale_threshold: %u ms",
		    (unsigned int)timing->stale_threshold_ms);

	if (timing->interval_count == 0U) {
		shell_print(sh, "intervals: waiting for second sample");
	} else {
		shell_print(sh, "latest_interval: %u ms",
			    (unsigned int)timing->latest_interval_ms);
		shell_print(sh, "minimum_interval: %u ms",
			    (unsigned int)timing->minimum_interval_ms);
		shell_print(sh, "maximum_interval: %u ms",
			    (unsigned int)timing->maximum_interval_ms);
		shell_print(sh, "mean_interval: %u ms",
			    (unsigned int)timing->mean_interval_ms);
		shell_print(sh, "scheduler_delay: %d ms",
			    timing->latest_scheduler_delay_ms);
	}

	shell_print(sh, "missed_deadlines: %u events",
		    (unsigned int)timing->missed_deadline_count);

	if (timing->have_last_valid_sample) {
		shell_print(sh, "last_valid_sample_age: %u ms",
			    (unsigned int)timing->last_valid_sample_age_ms);
		shell_print(sh, "stale_data: %s",
			    timing->stale_data ? "yes" : "no");
	} else {
		shell_print(sh, "last_valid_sample_age: unavailable");
		shell_print(sh, "stale_data: unknown");
	}

	return 0;
}

static int cmd_node_faults(const struct shell *sh)
{
	struct diagnostics_snapshot_update snapshot;
	const struct state_model *state;
	int ret;

	ret = require_snapshot(sh, &snapshot);
	if (ret != 0) {
		return ret;
	}

	state = &snapshot.system_state;

	shell_print(sh, "Fault and transition counters");
	shell_print(sh, "node_health: %s",
		    node_health_state_to_string(state->node_health));
	shell_print(sh, "environment_status: %s",
		    environmental_status_to_string(state->environmental_status));
	shell_print(sh, "last_fault_reason: %s",
		    state_fault_reason_to_string(state->last_fault_reason));
	shell_print(sh, "node_health_transitions: %u",
		    (unsigned int)state->node_health_transition_count);
	shell_print(sh, "environment_transitions: %u",
		    (unsigned int)state->environmental_transition_count);
	shell_print(sh, "consecutive_sensor_failures: %u",
		    (unsigned int)state->consecutive_sensor_failures);
	shell_print(sh, "recovery_valid_samples: %u",
		    (unsigned int)state->consecutive_recovery_valid_samples);
	shell_print(sh, "stale_data_events: %u",
		    (unsigned int)state->stale_data_event_count);
	shell_print(sh, "missed_deadline_events: %u",
		    (unsigned int)state->missed_deadline_event_count);
	shell_print(sh, "queue_overflow_events: %u",
		    (unsigned int)state->queue_overflow_event_count);

	shell_print_fault_injections(sh, fault_injection_get_mask());

	return 0;
}

static int cmd_node_reset_stats(const struct shell *sh)
{
	atomic_set(&reset_stats_requested, 1);

	shell_print(sh, "reset-stats requested");
	shell_print(sh, "processing, statistics, timing, and sequence counters will reset on the next processed sample");
	shell_print(sh, "node health state is not forcibly changed by this command");

	return 0;
}

static int cmd_node_thresholds(const struct shell *sh)
{
	shell_print(sh, "Thresholds");

	shell_print(sh, "sensor failures before FAULT: %u consecutive failures",
		    (unsigned int)STATE_SENSOR_FAILURES_BEFORE_FAULT);
	shell_print(sh, "recovery requirement: %u consecutive valid samples",
		    (unsigned int)STATE_RECOVERY_VALID_SAMPLE_COUNT);
	shell_print(sh, "stale events before FAULT: %u events",
		    (unsigned int)STATE_STALE_EVENTS_BEFORE_FAULT);
	shell_print(sh, "missed deadlines before FAULT: %u events",
		    (unsigned int)STATE_MISSED_DEADLINES_BEFORE_FAULT);
	shell_print(sh, "queue overflows before FAULT: %u events",
		    (unsigned int)STATE_QUEUE_OVERFLOWS_BEFORE_FAULT);

	shell_print_milli_c(sh, "high temperature enter",
			    STATE_HIGH_TEMP_ENTER_MILLI_C);
	shell_print_milli_c(sh, "high temperature clear",
			    STATE_HIGH_TEMP_CLEAR_MILLI_C);

	shell_print_pressure(sh, "pressure low enter",
			     STATE_PRESSURE_LOW_ENTER_PA);
	shell_print_pressure(sh, "pressure high enter",
			     STATE_PRESSURE_HIGH_ENTER_PA);
	shell_print_pressure(sh, "pressure low clear",
			     STATE_PRESSURE_LOW_CLEAR_PA);
	shell_print_pressure(sh, "pressure high clear",
			     STATE_PRESSURE_HIGH_CLEAR_PA);

	return 0;
}

static int cmd_node_threads(const struct shell *sh)
{
	shell_print(sh, "Thread analyzer snapshot");
	shell_print(sh, "Look for fieldsense_acq, fieldsense_proc, sysworkq, shell, idle, and logging-related threads.");
	shell_print(sh, "Format: stack usage is reported by Zephyr thread analyzer.");
	shell_print(sh, "Use this output to record allocated stack, used stack high-water, and unused stack.");

	thread_analyzer_print(0);

	return 0;
}

static int cmd_node_inject(const struct shell *sh, size_t argc, char **argv)
{
	const char *fault_name;

	if (argc != 3) {
		shell_error(sh, "usage: node inject <sensor-failure|stale-publication|processing-delay|queue-pressure|invalid-measurement|normal-environment|clear>");
		return -EINVAL;
	}

	fault_name = argv[2];

	if (strcmp(fault_name, "sensor-failure") == 0) {
		fault_injection_enable(FAULT_INJECTION_SENSOR_READ_FAILURE);
		shell_print(sh, "enabled injection: sensor-read-failure");
		return 0;
	}

	if (strcmp(fault_name, "stale-publication") == 0) {
		fault_injection_enable(FAULT_INJECTION_STALE_PUBLICATION);
		shell_print(sh, "enabled injection: stale-publication");
		return 0;
	}

	if (strcmp(fault_name, "processing-delay") == 0) {
		fault_injection_enable(FAULT_INJECTION_PROCESSING_DELAY);
		shell_print(sh, "enabled injection: processing-delay");
		return 0;
	}

	if (strcmp(fault_name, "queue-pressure") == 0) {
		fault_injection_enable(FAULT_INJECTION_QUEUE_PRESSURE);
		shell_print(sh, "enabled injection: queue-pressure");
		return 0;
	}

	if (strcmp(fault_name, "invalid-measurement") == 0) {
		fault_injection_enable(FAULT_INJECTION_INVALID_MEASUREMENT);
		shell_print(sh, "enabled injection: invalid-measurement");
		return 0;
	}

	if (strcmp(fault_name, "normal-environment") == 0) {
		fault_injection_enable(FAULT_INJECTION_NORMAL_ENVIRONMENT);
		shell_print(sh, "enabled injection: normal-environment");
		return 0;
	}

	if (strcmp(fault_name, "clear") == 0) {
		fault_injection_clear_all();
		shell_print(sh, "all injected faults cleared");
		return 0;
	}

	shell_error(sh, "unknown injection: %s", fault_name);
	shell_error(sh, "valid injections: sensor-failure stale-publication processing-delay queue-pressure invalid-measurement normal-environment clear");

	return -EINVAL;
}

static int cmd_node(const struct shell *sh, size_t argc, char **argv)
{
	const char *subcmd;

	if (argc < 2 || argc > 3) {
		shell_error(sh, "usage: node <status|latest|stats|timing|faults|reset-stats|thresholds|threads|inject>");
		return -EINVAL;
	}

	subcmd = argv[1];

	if (strcmp(subcmd, "inject") == 0) {
		return cmd_node_inject(sh, argc, argv);
	}

	if (argc != 2) {
		shell_error(sh, "command does not accept extra arguments: %s",
			    subcmd);
		return -EINVAL;
	}

	if (strcmp(subcmd, "status") == 0) {
		return cmd_node_status(sh);
	}

	if (strcmp(subcmd, "latest") == 0) {
		return cmd_node_latest(sh);
	}

	if (strcmp(subcmd, "stats") == 0) {
		return cmd_node_stats(sh);
	}

	if (strcmp(subcmd, "timing") == 0) {
		return cmd_node_timing(sh);
	}

	if (strcmp(subcmd, "faults") == 0) {
		return cmd_node_faults(sh);
	}

	if (strcmp(subcmd, "reset-stats") == 0) {
		return cmd_node_reset_stats(sh);
	}

	if (strcmp(subcmd, "thresholds") == 0) {
		return cmd_node_thresholds(sh);
	}

	if (strcmp(subcmd, "threads") == 0) {
		return cmd_node_threads(sh);
	}

	shell_error(sh, "unknown node command: %s", subcmd);
	shell_error(sh, "valid commands: status latest stats timing faults reset-stats thresholds threads inject");

	return -EINVAL;
}

SHELL_CMD_ARG_REGISTER(node,
		       NULL,
		       "FieldSense-Z diagnostic commands",
		       cmd_node,
		       2,
		       1);
```

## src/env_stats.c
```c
#include <stddef.h>
#include <stdint.h>
#include <string.h>

#include "env_stats.h"

void env_stats_measurement_reset(struct measurement_stats *stats)
{
	if (stats == NULL) {
		return;
	}

	memset(stats, 0, sizeof(*stats));
}

void env_stats_init(struct environmental_stats *stats)
{
	if (stats == NULL) {
		return;
	}

	env_stats_measurement_reset(&stats->temperature_milli_celsius);
	env_stats_measurement_reset(&stats->pressure_pa);
}

void env_stats_measurement_update(struct measurement_stats *stats,
				  int32_t value)
{
	if (stats == NULL) {
		return;
	}

	stats->latest = value;

	if (!stats->has_value) {
		stats->minimum = value;
		stats->maximum = value;
		stats->has_value = true;
	} else {
		if (value < stats->minimum) {
			stats->minimum = value;
		}

		if (value > stats->maximum) {
			stats->maximum = value;
		}
	}

	stats->valid_count++;

	if (stats->window_count < ENV_STATS_WINDOW_SIZE) {
		stats->window[stats->window_index] = value;
		stats->window_sum += value;
		stats->window_count++;
		stats->window_index =
			(stats->window_index + 1U) % ENV_STATS_WINDOW_SIZE;
	} else {
		stats->window_sum -= stats->window[stats->window_index];
		stats->window[stats->window_index] = value;
		stats->window_sum += value;
		stats->window_index =
			(stats->window_index + 1U) % ENV_STATS_WINDOW_SIZE;
	}

	stats->moving_average =
		(int32_t)(stats->window_sum / (int64_t)stats->window_count);
}

void env_stats_update_from_sample(struct environmental_stats *stats,
				  const struct sensor_sample *sample)
{
	if (stats == NULL || sample == NULL) {
		return;
	}

	if (!sample->valid ||
	    sample->status != SENSOR_SAMPLE_STATUS_OK ||
	    sample->driver_error != 0) {
		return;
	}

	/*
	 * Current verified hardware is BMP280.
	 * Supported channels: temperature and pressure.
	 * Humidity statistics are intentionally not calculated.
	 */
	env_stats_measurement_update(&stats->temperature_milli_celsius,
				     sample->temperature_milli_celsius);

	env_stats_measurement_update(&stats->pressure_pa,
				     sample->pressure_pa);
}

bool env_stats_controlled_self_test(void)
{
	struct measurement_stats stats;
	const int32_t values[] = {
		22000,
		23000,
		21000,
		24000,
		25000,
		26000,
	};

	env_stats_measurement_reset(&stats);

	for (size_t i = 0; i < (sizeof(values) / sizeof(values[0])); i++) {
		env_stats_measurement_update(&stats, values[i]);
	}

	return stats.has_value &&
	       stats.latest == 26000 &&
	       stats.minimum == 21000 &&
	       stats.maximum == 26000 &&
	       stats.valid_count == 6 &&
	       stats.window_count == ENV_STATS_WINDOW_SIZE &&
	       stats.moving_average == 23800;
}
```

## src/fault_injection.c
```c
#include <stdbool.h>
#include <stdint.h>

#include <zephyr/sys/atomic.h>

#include "fault_injection.h"

static atomic_t active_fault_injection_mask;

void fault_injection_init(void)
{
	atomic_set(&active_fault_injection_mask, 0);
}

void fault_injection_enable(uint32_t mask)
{
	atomic_or(&active_fault_injection_mask, (atomic_val_t)mask);
}

void fault_injection_clear(uint32_t mask)
{
	atomic_and(&active_fault_injection_mask, (atomic_val_t)(~mask));
}

void fault_injection_clear_all(void)
{
	atomic_set(&active_fault_injection_mask, 0);
}

uint32_t fault_injection_get_mask(void)
{
	return (uint32_t)atomic_get(&active_fault_injection_mask);
}

bool fault_injection_is_active(uint32_t mask)
{
	return (fault_injection_get_mask() & mask) != 0U;
}
```
